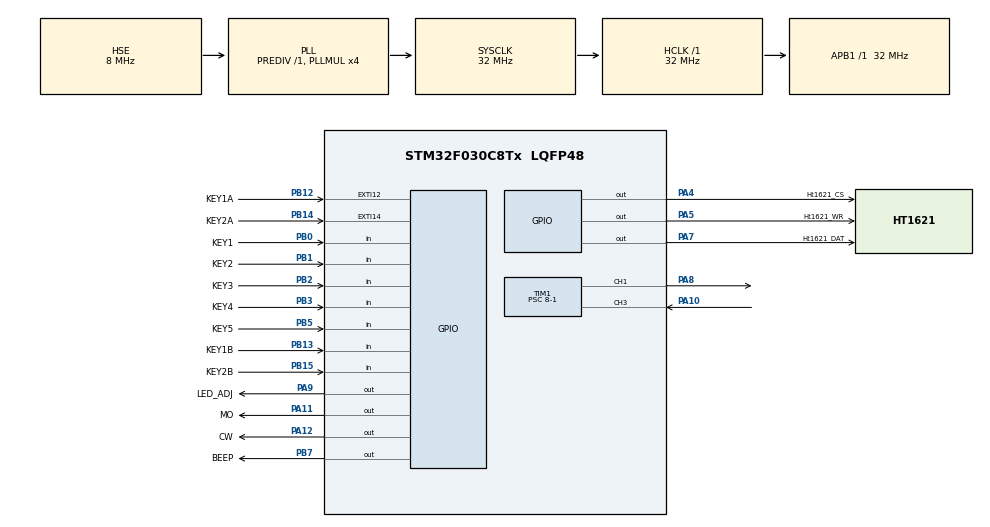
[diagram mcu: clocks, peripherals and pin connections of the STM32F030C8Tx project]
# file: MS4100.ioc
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Mcu.Family=STM32F0
Mcu.Name=STM32F030C8Tx
Mcu.Package=LQFP48
NVIC.EXTI4_15_IRQn=true\:0\:0\:true\:false\:true\:true\:true
NVIC.TIM1_BRK_UP_TRG_COM_IRQn=true\:1\:0\:true\:false\:true\:true\:true
NVIC.TIM1_CC_IRQn=true\:1\:0\:true\:false\:true\:true\:true
NVIC.TIM3_IRQn=true\:1\:0\:true\:false\:true\:true\:true
PA10.Signal=S_TIM1_CH3
PA11.GPIO_Label=MO
PA11.GPIO_PuPd=GPIO_PULLDOWN
PA11.GPIO_Speed=GPIO_SPEED_FREQ_HIGH
PA11.Signal=GPIO_Output
PA12.GPIO_Label=CW
PA12.GPIO_PuPd=GPIO_PULLDOWN
PA12.Signal=GPIO_Output
PA4.GPIO_Label=Ht1621_CS
PA4.GPIO_PuPd=GPIO_PULLUP
PA4.GPIO_Speed=GPIO_SPEED_FREQ_HIGH
PA4.PinState=GPIO_PIN_SET
PA4.Signal=GPIO_Output
PA5.GPIO_Label=Ht1621_WR
PA5.GPIO_PuPd=GPIO_PULLUP
PA5.GPIO_Speed=GPIO_SPEED_FREQ_HIGH
PA5.PinState=GPIO_PIN_SET
PA5.Signal=GPIO_Output
PA7.GPIO_Label=Ht1621_DAT
PA7.GPIO_PuPd=GPIO_PULLUP
PA7.GPIO_Speed=GPIO_SPEED_FREQ_HIGH
PA7.PinState=GPIO_PIN_SET
PA7.Signal=GPIO_Output
PA8.Signal=S_TIM1_CH1
PA9.GPIO_Label=LED_ADJ
PA9.PinState=GPIO_PIN_SET
PA9.Signal=GPIO_Output
PB0.GPIO_Label=KEY1
PB0.GPIO_PuPd=GPIO_NOPULL
PB0.Signal=GPIO_Input
PB1.GPIO_Label=KEY2
PB1.GPIO_PuPd=GPIO_NOPULL
PB1.Signal=GPIO_Input
PB12.GPIO_Label=KEY1A
PB12.GPIO_ModeDefaultEXTI=GPIO_MODE_IT_RISING
PB12.GPIO_PuPd=GPIO_NOPULL
PB12.Signal=GPXTI12
PB13.GPIO_Label=KEY1B
PB13.Signal=GPIO_Input
PB14.GPIO_Label=KEY2A
PB14.GPIO_ModeDefaultEXTI=GPIO_MODE_IT_RISING
PB14.GPIO_PuPd=GPIO_NOPULL
PB14.Signal=GPXTI14
PB15.GPIO_Label=KEY2B
PB15.GPIO_PuPd=GPIO_NOPULL
PB15.Signal=GPIO_Input
PB2.GPIO_Label=KEY3
PB2.GPIO_PuPd=GPIO_NOPULL
PB2.Signal=GPIO_Input
PB3.GPIO_Label=KEY4
PB3.GPIO_PuPd=GPIO_PULLUP
PB3.Signal=GPIO_Input
PB5.GPIO_Label=KEY5
PB5.GPIO_PuPd=GPIO_PULLUP
PB5.Signal=GPIO_Input
PB7.GPIO_Label=BEEP
PB7.GPIO_PuPd=GPIO_PULLDOWN
PB7.Signal=GPIO_Output
PF0-OSC_IN.Mode=HSE-External-Oscillator
PF0-OSC_IN.Signal=RCC_OSC_IN
PF1-OSC_OUT.Mode=HSE-External-Oscillator
PF1-OSC_OUT.Signal=RCC_OSC_OUT
ProjectManager.HeapSize=0x200
ProjectManager.StackSize=0x400
ProjectManager.TargetToolchain=MDK-ARM V5
RCC.AHBFreq_Value=32000000
RCC.APB1Freq_Value=32000000
RCC.APB1TimFreq_Value=32000000
RCC.HCLKFreq_Value=32000000
RCC.PLLMUL=RCC_PLL_MUL4
RCC.PLLSourceVirtual=RCC_PLLSOURCE_HSE
RCC.SYSCLKFreq_VALUE=32000000
RCC.SYSCLKSource=RCC_SYSCLKSOURCE_PLLCLK
SH.S_TIM1_CH1.0=TIM1_CH1,PWM Generation1 CH1
SH.S_TIM1_CH3.0=TIM1_CH3,Input_Capture3_from_TI3
TIM1.AutoReloadPreload=TIM_AUTORELOAD_PRELOAD_ENABLE
TIM1.Channel-Input_Capture3_from_TI3=TIM_CHANNEL_3
TIM1.Channel-PWM\ Generation1\ CH1=TIM_CHANNEL_1
TIM1.Period=200-1
TIM1.Prescaler=8-1
TIM3.Period=1000
TIM3.Prescaler=31
VP_TIM1_VS_ClockSourceINT.Mode=Internal
VP_TIM3_VS_ClockSourceINT.Mode=Internal
board=custom

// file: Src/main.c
/* USER CODE BEGIN Header */
/**
  ******************************************************************************
  * @file           : main.c
  * @brief          : Main program body
  ******************************************************************************
  * @attention
  *
  * <h2><center>&copy; Copyright (c) 2020 STMicroelectronics.
  * All rights reserved.</center></h2>
  *
  * This software component is licensed by ST under BSD 3-Clause license,
  * the "License"; You may not use this file except in compliance with the
  * License. You may obtain a copy of the License at:
  *                        opensource.org/licenses/BSD-3-Clause
  *
  ******************************************************************************
  */
/* USER CODE END Header */

#include "main.h"
#include "tim.h"
#include "gpio.h"

/* USER CODE BEGIN Includes */
#include "ht1623.h"
#include "lcd.h"
#include "user.h"
#include "key.h"
/* USER CODE END Includes */

/* USER CODE BEGIN PTD */
extern uint16_t rel_speed;//实时速度
extern int rel_time;//实时时间
extern uint16_t set_speed;//设定速度
extern int set_time;//设定时间
extern uint8_t LOCK_Status;//安全锁标志 1：锁定 0：解锁
extern uint8_t CAPTURE_Status;//捕获状态 1：捕获中    0：捕获结束
extern uint16_t TIM1CH1_CAPTURE_STA;	//捕获周期数
extern uint16_t dis_speed;	//显示速度
extern uint8_t Run_Status;//运行状态 1：run     0：stop 2:减速
extern uint16_t	dis_speed_N;
extern uint16_t	dis_speed_F;
extern uint16_t save_speed;
uint16_t Wise_Flag;//反转标志
uint16_t UP_Flag;//正转标志
uint32_t Set_Cnt1;//旋钮转速计数
uint32_t speed_set1;//旋钮转速
uint32_t next_cnt1;//旋钮时钟时间
uint32_t Set_Cnt2;//旋钮转速计数
uint32_t speed_set2;//旋钮转速
uint32_t next_cnt2;//旋钮时钟时间
uint8_t ADD_Mode;//显示增减模式
uint8_t  wise_blink=0;//运行闪烁
uint8_t time_disable;//关闭计时
//int     save_set_time;
//uint8_t save_time_dsisable;
/* USER CODE END PTD */

/* USER CODE BEGIN PD */
void speed_deal(void);
void status_up(void);
/* USER CODE END PD */

void SystemClock_Config(void);

int main(void)
{

  /* MCU Configuration--------------------------------------------------------*/

  /* Reset of all peripherals, Initializes the Flash interface and the Systick. */
  HAL_Init();

  /* Configure the system clock */
  SystemClock_Config();

  /* Initialize all configured peripherals */
  MX_GPIO_Init();
  MX_TIM1_Init();
  MX_TIM3_Init();
  /* USER CODE BEGIN 2 */
	HAL_TIM_Base_Start_IT(&htim1);
	HAL_TIM_Base_Start_IT(&htim3);
	HAL_TIM_PWM_Start(&htim1, TIM_CHANNEL_1);
	HAL_TIM_IC_Start_IT(&htim1, TIM_CHANNEL_3);
	Sys_Init();

	lcd_init();
	HAL_Delay (5);
  lcd_all();
	HAL_Delay(1000);
	lcd_clr();
	beep();
  /* USER CODE END 2 */

  /* Infinite loop */
  /* USER CODE BEGIN WHILE */
  while (1)
  {
		Key_Handle();
		LCD_Display();
    speed_deal();
		 status_up();
		if(CAPTURE_Status)
		{

			__HAL_TIM_ENABLE(&htim1);
			CAPTURE_Status=0;
			TIM1CH1_CAPTURE_STA=0;
		}
    /* USER CODE END WHILE */

  }
}

void SystemClock_Config(void)
{
  RCC_OscInitTypeDef RCC_OscInitStruct = {0};
  RCC_ClkInitTypeDef RCC_ClkInitStruct = {0};

  /** Initializes the CPU, AHB and APB busses clocks
  */
  RCC_OscInitStruct.OscillatorType = RCC_OSCILLATORTYPE_HSE;
  RCC_OscInitStruct.HSEState = RCC_HSE_ON;
  RCC_OscInitStruct.PLL.PLLState = RCC_PLL_ON;
  RCC_OscInitStruct.PLL.PLLSource = RCC_PLLSOURCE_HSE;
  RCC_OscInitStruct.PLL.PLLMUL = RCC_PLL_MUL4;
  RCC_OscInitStruct.PLL.PREDIV = RCC_PREDIV_DIV1;
  if (HAL_RCC_OscConfig(&RCC_OscInitStruct) != HAL_OK)
  {
    Error_Handler();
  }
  /** Initializes the CPU, AHB and APB busses clocks
  */
  RCC_ClkInitStruct.ClockType = RCC_CLOCKTYPE_HCLK|RCC_CLOCKTYPE_SYSCLK
                              |RCC_CLOCKTYPE_PCLK1;
  RCC_ClkInitStruct.SYSCLKSource = RCC_SYSCLKSOURCE_PLLCLK;
  RCC_ClkInitStruct.AHBCLKDivider = RCC_SYSCLK_DIV1;
  RCC_ClkInitStruct.APB1CLKDivider = RCC_HCLK_DIV1;

  if (HAL_RCC_ClockConfig(&RCC_ClkInitStruct, FLASH_LATENCY_1) != HAL_OK)
  {
    Error_Handler();
  }
}

/* USER CODE BEGIN 4 */
void HAL_GPIO_EXTI_Callback(uint16_t GPIO_Pin)
{
	   if (LOCK_Status)
			 return;

		 if(Run_Status==2)
       return;

		if(GPIO_Pin ==KEY1A_Pin)//时间设定旋钮
		{

			  Set_Cnt1++;
			  if(Set_Cnt1>3)
				{
						uint32_t first1= HAL_GetTick();
						speed_set1=120000/(first1-next_cnt1);
						next_cnt1=first1;
						Set_Cnt1=0;
				}
			 if((HAL_GPIO_ReadPin(KEY1B_GPIO_Port,KEY1B_Pin)==0)&&(HAL_GPIO_ReadPin(KEY1A_GPIO_Port,KEY1A_Pin)==1))
			 {
				 if(Wise_Flag==0)
							{
								if(speed_set1>2000)
									set_time=set_time+600;
								else
								set_time=set_time+60;
								Wise_Flag =10;
								UP_Flag=100;
							}

							if(set_time>86400)
								set_time=86400;

							if(set_time<60)
								set_time=0;

							time_disable=0;

			//			  save_set_time=set_time;
			//				save_time_dsisable=time_disable;

				}
				else if((HAL_GPIO_ReadPin(KEY1A_GPIO_Port,KEY1B_Pin)==1)&&(HAL_GPIO_ReadPin(KEY1A_GPIO_Port,KEY1A_Pin)==1))
				{
              if(UP_Flag==0)
							{
								if(speed_set1>2000)
								{
									if(set_time)
							    set_time=set_time-600;
									if(set_time<60)
									{
											set_time=0;
										  time_disable=1;
									}
								}
								else
								{
									if(set_time)
									set_time=set_time-60;
									UP_Flag =10;
									Wise_Flag=100;
									time_disable=0;

									if(set_time<60)
									{
											set_time=0;
										  time_disable=1;
									}
						  	}
                //save_set_time=set_time;
								//save_time_dsisable=time_disable;

							}

				}

				rel_time =set_time-1;
		}

			if(GPIO_Pin == KEY2A_Pin)//速度设定旋钮
	   {

			  Set_Cnt2++;
			  if(Set_Cnt2>3)
				{
						uint32_t first2= HAL_GetTick();
						speed_set2=120000/(first2-next_cnt2);
						next_cnt2=first2;
						Set_Cnt2=0;
				}
				if((HAL_GPIO_ReadPin(KEY2B_GPIO_Port,KEY2B_Pin)==0)&&(HAL_GPIO_ReadPin(KEY2A_GPIO_Port,KEY2A_Pin)==1))
				{
							if(Wise_Flag==0)
							{
								if(speed_set2>1000)
									set_speed=set_speed+20;
								else
								set_speed=set_speed+5;
								if(set_speed>rel_speed)
						   	ADD_Mode =1;
						    else
						   	ADD_Mode =0;

								UP_Flag=100;
								Wise_Flag=10;
							}

							if(set_speed>200)
								set_speed=200;

							if(set_speed<20)
								set_speed=20;

				}
				else if((HAL_GPIO_ReadPin(KEY2A_GPIO_Port,KEY2B_Pin)==1)&&(HAL_GPIO_ReadPin(KEY2A_GPIO_Port,KEY2A_Pin)==1))
				{
              if(UP_Flag==0)
							{
								if(speed_set2>1000)
								{
									if(set_speed)
								   set_speed=set_speed-20;
								}
								else
								{
									if(set_speed)
									set_speed=set_speed-5;
						  	}
               if(set_speed>rel_speed)
								ADD_Mode =1;
							  else
								ADD_Mode =0;

								Wise_Flag=100;
								UP_Flag=10;
							}

							//最小速度50
							if(set_speed<20)
								set_speed=20;

				}

     }
}

void speed_deal(void)
{
 if(ADD_Mode==1)
		 {
			 if(set_speed>rel_speed )
				 dis_speed =rel_speed;
			 else
			 {
				 dis_speed=set_speed;
				 ADD_Mode=4;
			 }
		 }
		 else
		 {
			 if(set_speed<rel_speed )
				 dis_speed =rel_speed;
			 else
			 {
				 dis_speed=set_speed;
				 ADD_Mode=4;
			 }

		 }
		 if(Run_Status)
		 {
			// wise_blink=1;
		 }
		 else
			 wise_blink=0;

	 }
extern int sumError1;
extern int lastError1;
extern uint32_t	TIM1CH1_CAPTURE_VAL;	//捕获计数值
void status_up(void)
{
	if(Run_Status ==2)
	{
		if(rel_speed <25)
		{
				Run_Status =0;
				ADD_Mode=0;
				rel_speed=0;
				set_speed=save_speed;
				dis_speed_N=0;
				dis_speed_F=0;
			  TIM1CH1_CAPTURE_STA=0;
			  TIM1CH1_CAPTURE_VAL=0;
				sumError1=0;
	      lastError1=0;
				HAL_GPIO_WritePin(MO_GPIO_Port, MO_Pin, GPIO_PIN_RESET);//电机guan
		}
	}
}

/* USER CODE END 4 */

void Error_Handler(void)
{
}

/************************ (C) COPYRIGHT STMicroelectronics *****END OF FILE****/
